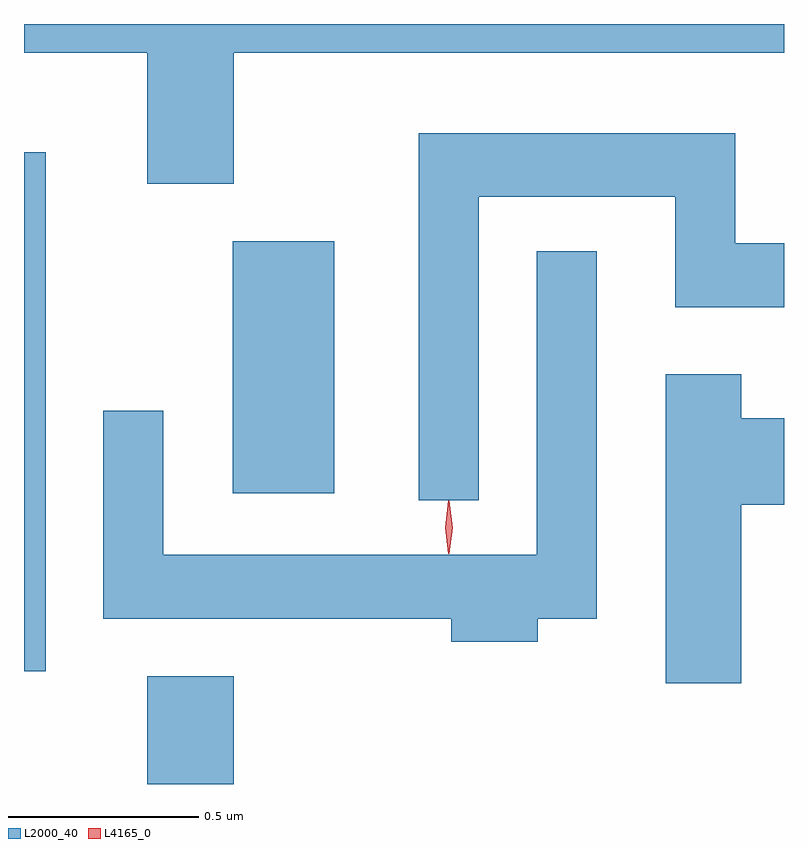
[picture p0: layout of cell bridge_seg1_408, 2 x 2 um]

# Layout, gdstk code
import gdstk
lib = gdstk.Library(unit=1e-6, precision=1e-09)
def R(c, l, rs):  # rectangles x0, y0, x1, y1
    for r in rs: c.add(gdstk.rectangle(r[:2], r[2:], *l))
def P(c, l, *ps):  # polygons
    for p in ps: c.add(gdstk.Polygon(p, *l))
L2000_40 = (2000, 40)
L4165_0 = (4165, 0)

bridge_seg1_408 = lib.new_cell('bridge_seg1_408')
R(bridge_seg1_408, L2000_40, [(556.551,970.911,556.779,971.194), (556.227,971.208,556.284,972.574), (556.776,971.676,557.044,972.339)])
P(bridge_seg1_408, L2000_40, [(556.779,972.836),(558.227,972.836),(558.227,972.911),(556.227,972.911),(556.227,972.836),(556.551,972.836),(556.551,972.491),(556.779,972.491)],
  [(557.424,972.456),(557.941,972.456),(557.941,972.166),(558.227,972.166),(558.227,972.334),(558.099,972.334),(558.099,972.624),(557.266,972.624),(557.266,971.658),(557.424,971.658)],
  [(557.579,971.346),(557.734,971.346),(557.734,972.313),(557.576,972.313),(557.576,971.514),(556.594,971.514),(556.594,971.893),(556.436,971.893),(556.436,971.346),(557.351,971.346),(557.351,971.286),(557.579,971.286)],
  [(558.114,971.646),(558.227,971.646),(558.227,971.874),(558.114,971.874),(558.114,971.989),(557.916,971.989),(557.916,971.176),(558.114,971.176)])
P(bridge_seg1_408, L4165_0, [(557.344,971.517),(557.335,971.586),(557.344,971.656),(557.345,971.656),(557.346,971.656),(557.355,971.586),(557.346,971.517),(557.345,971.517)],
  [(557.345,971.519),(557.344,971.52),(557.335,971.586),(557.344,971.652),(557.345,971.653),(557.345,971.652),(557.355,971.586),(557.345,971.52)])

lib.write_gds('bridge_seg1_408.gds')
